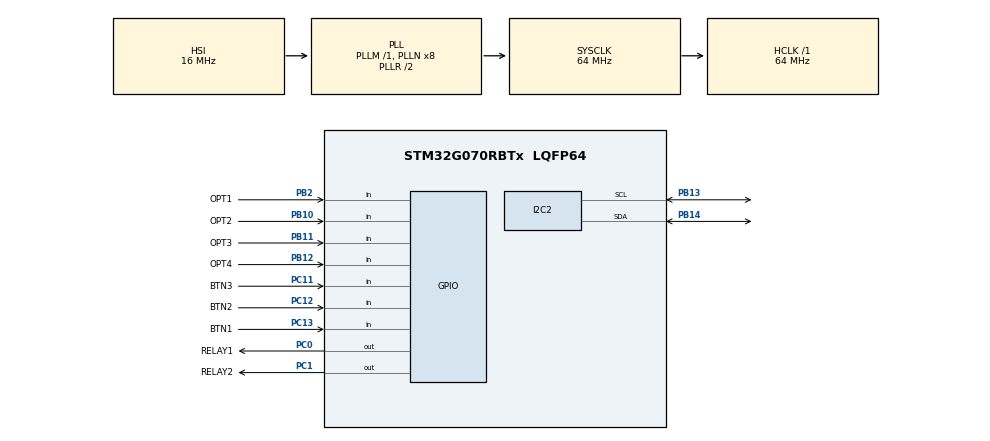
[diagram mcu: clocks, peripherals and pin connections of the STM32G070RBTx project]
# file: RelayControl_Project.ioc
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FREERTOS.Tasks01=defaultTask,0,128,StartDefaultTask,Default,NULL,Dynamic,NULL,NULL;Display,2,128,Display_init,Default,NULL,Dynamic,NULL,NULL
FREERTOS.configUSE_NEWLIB_REENTRANT=1
Mcu.Family=STM32G0
Mcu.Name=STM32G070RBTx
Mcu.Package=LQFP64
NVIC.TIM1_BRK_UP_TRG_COM_IRQn=true\:3\:0\:false\:false\:true\:false\:false\:true\:true
NVIC.TimeBase=TIM1_BRK_UP_TRG_COM_IRQn
NVIC.TimeBaseIP=TIM1
PA13.Mode=Serial_Wire
PA13.Signal=SYS_SWDIO
PA14-BOOT0.Mode=Serial_Wire
PA14-BOOT0.Signal=SYS_SWCLK
PB10.GPIO_Label=OPT2
PB10.GPIO_PuPd=GPIO_PULLDOWN
PB10.Signal=GPIO_Input
PB11.GPIO_Label=OPT3
PB11.GPIO_PuPd=GPIO_PULLDOWN
PB11.Signal=GPIO_Input
PB12.GPIO_Label=OPT4
PB12.GPIO_PuPd=GPIO_PULLDOWN
PB12.Signal=GPIO_Input
PB13.Mode=I2C
PB13.Signal=I2C2_SCL
PB14.Mode=I2C
PB14.Signal=I2C2_SDA
PB2.GPIO_Label=OPT1
PB2.GPIO_PuPd=GPIO_PULLDOWN
PB2.Signal=GPIO_Input
PC0.GPIO_Label=RELAY1
PC0.Signal=GPIO_Output
PC1.GPIO_Label=RELAY2
PC1.Signal=GPIO_Output
PC11.GPIO_Label=BTN3
PC11.GPIO_PuPd=GPIO_PULLUP
PC11.Signal=GPIO_Input
PC12.GPIO_Label=BTN2
PC12.GPIO_PuPd=GPIO_PULLUP
PC12.Signal=GPIO_Input
PC13.GPIO_Label=BTN1
PC13.GPIO_PuPd=GPIO_PULLUP
PC13.Signal=GPIO_Input
ProjectManager.HeapSize=0x200
ProjectManager.StackSize=0x400
ProjectManager.TargetToolchain=STM32CubeIDE
RCC.ADCFreq_Value=64000000
RCC.AHBFreq_Value=64000000
RCC.CortexFreq_Value=64000000
RCC.EXTERNAL_CLOCK_VALUE=48000
RCC.HCLKFreq_Value=64000000
RCC.HSE_VALUE=8000000
RCC.HSI_VALUE=16000000
RCC.LSE_VALUE=32768
RCC.SYSCLKFreq_VALUE=64000000
RCC.SYSCLKSource=RCC_SYSCLKSOURCE_PLLCLK
RCC.VCOOutputFreq_Value=128000000
VP_FREERTOS_VS_CMSIS_V1.Mode=CMSIS_V1
VP_SYS_VS_tim1.Mode=TIM1
board=custom

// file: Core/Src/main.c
/* USER CODE BEGIN Header */
/**
  ******************************************************************************
  * @file           : main.c
  * @brief          : Main program body
  ******************************************************************************
  * @attention
  *
  * Copyright (c) 2024 STMicroelectronics.
  * All rights reserved.
  *
  * This software is licensed under terms that can be found in the LICENSE file
  * in the root directory of this software component.
  * If no LICENSE file comes with this software, it is provided AS-IS.
  *
  ******************************************************************************
  */
/* USER CODE END Header */
#include "main.h"
#include "cmsis_os.h"

/* USER CODE BEGIN Includes */
#include <stdio.h>
#include "DisplayHandler.h"
#include "FlashReadWrite.h"
#include "RelayHandler.h"
/* USER CODE END Includes */

/* USER CODE BEGIN PTD */
volatile ScreenCtrl   Scrn_Ctrl;
GPIO_PinState BT1,BT2,BT3,OPT1,OPT2,OPT3,OPT4,RELAY1,RELAY2;
FlagStatus SequenceStart = RESET;

uint16_t IdealTime = 10; //in sec
uint32_t CurrentTime,DiffenceTime;
/* USER CODE END PTD */

I2C_HandleTypeDef hi2c2;

osThreadId defaultTaskHandle;
osThreadId DisplayHandle;

void SystemClock_Config(void);
static void MX_GPIO_Init(void);
static void MX_I2C2_Init(void);
void StartDefaultTask(void const * argument);
void Display_init(void const * argument);

/* USER CODE BEGIN PFP */

extern uint8_t ScreenPosition;
extern uint8_t IndexNo;
extern FlagStatus Ok_Pressed;
extern FlagStatus Update_req;

FlagStatus cleardisp;
uint16_t On_delay_R1,On_delay_R2,Off_delay_R1,Off_delay_R2;
/* USER CODE END PFP */

int main(void)
{

  /* MCU Configuration--------------------------------------------------------*/

  /* Reset of all peripherals, Initializes the Flash interface and the Systick. */
  HAL_Init();

  /* Configure the system clock */
  SystemClock_Config();

  /* Initialize all configured peripherals */
  MX_GPIO_Init();
  MX_I2C2_Init();
  /* USER CODE BEGIN 2 */
  RetriveData();
  SSD1306_Init();  // initialise

  /// welcome screen

    SSD1306_GotoXY (0,40);
    SSD1306_Puts ("   NEXT WAVE OF ", &Font_7x10, 1);
    SSD1306_GotoXY (0,50);
    SSD1306_Puts ("    INNOVATION", &Font_7x10, 1);
    SSD1306_UpdateScreen(); //display

  /* USER CODE END 2 */

  /* Create the thread(s) */
  /* definition and creation of defaultTask */
  osThreadDef(defaultTask, StartDefaultTask, osPriorityNormal, 0, 128);
  defaultTaskHandle = osThreadCreate(osThread(defaultTask), NULL);

  /* definition and creation of Display */
  osThreadDef(Display, Display_init, osPriorityHigh, 0, 128);
  DisplayHandle = osThreadCreate(osThread(Display), NULL);

  /* Start scheduler */
  osKernelStart();

  /* We should never get here as control is now taken by the scheduler */

  /* Infinite loop */
  while (1)
  {

  }
}

void SystemClock_Config(void)
{
  RCC_OscInitTypeDef RCC_OscInitStruct = {0};
  RCC_ClkInitTypeDef RCC_ClkInitStruct = {0};

  /** Configure the main internal regulator output voltage
  */
  HAL_PWREx_ControlVoltageScaling(PWR_REGULATOR_VOLTAGE_SCALE1);

  /** Initializes the RCC Oscillators according to the specified parameters
  * in the RCC_OscInitTypeDef structure.
  */
  RCC_OscInitStruct.OscillatorType = RCC_OSCILLATORTYPE_HSI;
  RCC_OscInitStruct.HSIState = RCC_HSI_ON;
  RCC_OscInitStruct.HSIDiv = RCC_HSI_DIV1;
  RCC_OscInitStruct.HSICalibrationValue = RCC_HSICALIBRATION_DEFAULT;
  RCC_OscInitStruct.PLL.PLLState = RCC_PLL_ON;
  RCC_OscInitStruct.PLL.PLLSource = RCC_PLLSOURCE_HSI;
  RCC_OscInitStruct.PLL.PLLM = RCC_PLLM_DIV1;
  RCC_OscInitStruct.PLL.PLLN = 8;
  RCC_OscInitStruct.PLL.PLLP = RCC_PLLP_DIV2;
  RCC_OscInitStruct.PLL.PLLR = RCC_PLLR_DIV2;
  if (HAL_RCC_OscConfig(&RCC_OscInitStruct) != HAL_OK)
  {
    Error_Handler();
  }

  /** Initializes the CPU, AHB and APB buses clocks
  */
  RCC_ClkInitStruct.ClockType = RCC_CLOCKTYPE_HCLK|RCC_CLOCKTYPE_SYSCLK
                              |RCC_CLOCKTYPE_PCLK1;
  RCC_ClkInitStruct.SYSCLKSource = RCC_SYSCLKSOURCE_PLLCLK;
  RCC_ClkInitStruct.AHBCLKDivider = RCC_SYSCLK_DIV1;
  RCC_ClkInitStruct.APB1CLKDivider = RCC_HCLK_DIV1;

  if (HAL_RCC_ClockConfig(&RCC_ClkInitStruct, FLASH_LATENCY_2) != HAL_OK)
  {
    Error_Handler();
  }
}

static void MX_I2C2_Init(void)
{

  hi2c2.Instance = I2C2;
  hi2c2.Init.Timing = 0x00303D5B;
  hi2c2.Init.OwnAddress1 = 0;
  hi2c2.Init.AddressingMode = I2C_ADDRESSINGMODE_7BIT;
  hi2c2.Init.DualAddressMode = I2C_DUALADDRESS_DISABLE;
  hi2c2.Init.OwnAddress2 = 0;
  hi2c2.Init.OwnAddress2Masks = I2C_OA2_NOMASK;
  hi2c2.Init.GeneralCallMode = I2C_GENERALCALL_DISABLE;
  hi2c2.Init.NoStretchMode = I2C_NOSTRETCH_DISABLE;
  if (HAL_I2C_Init(&hi2c2) != HAL_OK)
  {
    Error_Handler();
  }

  /** Configure Analogue filter
  */
  if (HAL_I2CEx_ConfigAnalogFilter(&hi2c2, I2C_ANALOGFILTER_ENABLE) != HAL_OK)
  {
    Error_Handler();
  }

  /** Configure Digital filter
  */
  if (HAL_I2CEx_ConfigDigitalFilter(&hi2c2, 0) != HAL_OK)
  {
    Error_Handler();
  }

}

static void MX_GPIO_Init(void)
{
  GPIO_InitTypeDef GPIO_InitStruct = {0};

  /* GPIO Ports Clock Enable */
  __HAL_RCC_GPIOC_CLK_ENABLE();
  __HAL_RCC_GPIOB_CLK_ENABLE();
  __HAL_RCC_GPIOA_CLK_ENABLE();

  /*Configure GPIO pin Output Level */
  HAL_GPIO_WritePin(GPIOC, RELAY1_Pin|RELAY2_Pin, GPIO_PIN_RESET);

  /*Configure GPIO pins : BTN3_Pin BTN2_Pin BTN1_Pin */
  GPIO_InitStruct.Pin = BTN3_Pin|BTN2_Pin|BTN1_Pin;
  GPIO_InitStruct.Mode = GPIO_MODE_INPUT;
  GPIO_InitStruct.Pull = GPIO_PULLUP;
  HAL_GPIO_Init(GPIOC, &GPIO_InitStruct);

  /*Configure GPIO pins : RELAY1_Pin RELAY2_Pin */
  GPIO_InitStruct.Pin = RELAY1_Pin|RELAY2_Pin;
  GPIO_InitStruct.Mode = GPIO_MODE_OUTPUT_PP;
  GPIO_InitStruct.Pull = GPIO_NOPULL;
  GPIO_InitStruct.Speed = GPIO_SPEED_FREQ_LOW;
  HAL_GPIO_Init(GPIOC, &GPIO_InitStruct);

  /*Configure GPIO pins : OPT1_Pin OPT2_Pin OPT3_Pin OPT4_Pin */
  GPIO_InitStruct.Pin = OPT1_Pin|OPT2_Pin|OPT3_Pin|OPT4_Pin;
  GPIO_InitStruct.Mode = GPIO_MODE_INPUT;
  GPIO_InitStruct.Pull = GPIO_PULLDOWN;
  HAL_GPIO_Init(GPIOB, &GPIO_InitStruct);

}

/* USER CODE BEGIN 4 */

void SignalTest()
{
	BT1 	= HAL_GPIO_ReadPin(BTN1_GPIO_Port, BTN1_Pin);
	BT2 	= HAL_GPIO_ReadPin(BTN2_GPIO_Port, BTN2_Pin);
	BT3 	= HAL_GPIO_ReadPin(BTN3_GPIO_Port, BTN3_Pin);
	OPT1 	= HAL_GPIO_ReadPin(OPT1_GPIO_Port, OPT1_Pin);
	OPT2 	= HAL_GPIO_ReadPin(OPT2_GPIO_Port, OPT2_Pin);
	OPT3 	= HAL_GPIO_ReadPin(OPT3_GPIO_Port, OPT3_Pin);
	OPT4 	= HAL_GPIO_ReadPin(OPT4_GPIO_Port, OPT4_Pin);
	HAL_GPIO_WritePin(RELAY1_GPIO_Port, RELAY1_Pin, RELAY1);
	HAL_GPIO_WritePin(RELAY2_GPIO_Port, RELAY2_Pin, RELAY2);
}
void GPIOUpdate()
{
	BT1 	= HAL_GPIO_ReadPin(BTN1_GPIO_Port, BTN1_Pin);
	BT2 	= HAL_GPIO_ReadPin(BTN2_GPIO_Port, BTN2_Pin);
	BT3 	= HAL_GPIO_ReadPin(BTN3_GPIO_Port, BTN3_Pin);
	OPT1 	= HAL_GPIO_ReadPin(OPT1_GPIO_Port, OPT1_Pin);
	OPT2 	= HAL_GPIO_ReadPin(OPT2_GPIO_Port, OPT2_Pin);
	OPT3 	= HAL_GPIO_ReadPin(OPT3_GPIO_Port, OPT3_Pin);
	OPT4 	= HAL_GPIO_ReadPin(OPT4_GPIO_Port, OPT4_Pin);
	HAL_GPIO_WritePin(RELAY1_GPIO_Port, RELAY1_Pin, RELAY1);
	HAL_GPIO_WritePin(RELAY2_GPIO_Port, RELAY2_Pin, RELAY2);
}

void Operation()
{
	if(BT1 == GPIO_PIN_RESET || BT2 == GPIO_PIN_RESET || BT3 == GPIO_PIN_RESET)
	{
		if(BT1 == GPIO_PIN_RESET)
		{
			if(IndexNo != 0)
			 {IndexNo--;}
			Update_req = SET;
		}
		else if(BT2 == GPIO_PIN_RESET)
		{
			Ok_Pressed = SET;
			Update_req = SET;

		}
		else if(BT3 == GPIO_PIN_RESET)
		{

			IndexNo++;
			Update_req = SET;
		}
		//Display_run();
		HAL_Delay(200);
		CurrentTime = HAL_GetTick();
		DiffenceTime = 0;
	}

	DiffenceTime = Absolute(CurrentTime, HAL_GetTick());
	if(DiffenceTime > IdealTime * 1000)
	{
		if(cleardisp)
		{
			SSD1306_Clear();
			cleardisp = RESET;
		}
		//Animation();
		PumpStatus();
	}
	else
	{
		Display_run();
		cleardisp = SET;
	}
}
/* USER CODE END 4 */

void StartDefaultTask(void const * argument)
{
  /* USER CODE BEGIN 5 */
  /* Infinite loop */
  for(;;)
  {
	RelaySequence();
	GPIOUpdate();
    osDelay(50);
  }
  /* USER CODE END 5 */
}

void Display_init(void const * argument)
{
  /* USER CODE BEGIN Display_init */
  /* Infinite loop */
  for(;;)
  {
	Operation();
    osDelay(100);
  }
  /* USER CODE END Display_init */
}

void HAL_TIM_PeriodElapsedCallback(TIM_HandleTypeDef *htim)
{
  if (htim->Instance == TIM1) {
    HAL_IncTick();
  }
}

void Error_Handler(void)
{
  __disable_irq();
  while (1)
  {
  }
}
